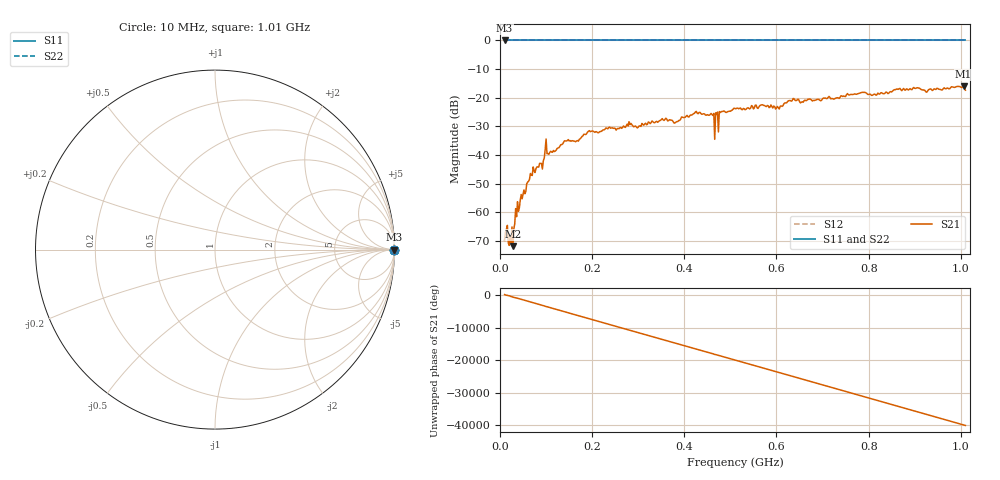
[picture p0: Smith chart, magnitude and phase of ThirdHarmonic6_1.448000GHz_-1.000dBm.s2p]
! 8/16/2025 4:46:50 PM
! C:\ANRITSUVNA\TEMP\TEMP.S2P
! CHANNEL.1
! TR.MEASUREMENT
! RAW.DATA
! RF.CORRECTION.OFF
! AVERAGING.OFF
! IF.BANDWIDTH: 5KHZ
! SWEEPTYPE:  FREQ.SWEEP(Linear)
! Reference Plane Port Info
! PORT:  PORT1  PORT2
! DISTANCE:  0  m  0  m
! TIME:  0  s  0  s
! PHASE.OFFSET:  0  deg.  0  deg.
! LOSS:  0  dB  0  dB
! REF.LOSS:  0  dB  0  dB
! REF.FREQ:  0  Hz  0  Hz
! Power Info
! POWER:  -20  dBm  -20  dBm
! EFF.POWER:  -20  dBm  -20  dBm
! SOURCE.ATTEN:  0  dB  0  dB
! TEST.ATTEN:  0  dB  0  dB
# GHZ S RI R 50.0
! FREQ.GHZ  S11RE  S11IM  S21RE  S21IM  S12RE  S12IM  S22RE  S22IM
!; PortSelection: Port_12
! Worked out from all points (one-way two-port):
!   501 points, 10 MHz to 1.01 GHz, reference 50 ohm
!   highest |S21| = -15.97 dB at 1.006 GHz (marker M1); lowest = -71.9 dB at 28 MHz (marker M2)
!   lowest |S11| = 0.0 dB at 10 MHz (marker M3)
!   |S11| at or under -10 dB: nowhere
!   |S22| runs from 0.0 to 0.0 dB; largest |S21 - S12| = 1.1
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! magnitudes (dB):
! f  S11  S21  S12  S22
! 10 MHz  0.0  -69.9  0.0  0.0
! 24 MHz  0.0  -70.7  0.0  0.0
! 28 MHz  0.0  -71.9  0.0  0.0
! 34 MHz  0.0  -58.7  0.0  0.0
! 48 MHz  0.0  -55.3  0.0  0.0
! 70 MHz  0.0  -47.2  0.0  0.0
! 92 MHz  0.0  -44.9  0.0  0.0
! 100 MHz  0.0  -34.4  0.0  0.0
! 178 MHz  0.0  -33.5  0.0  0.0
! 344 MHz  0.0  -28.3  0.0  0.0
! 382 MHz  0.0  -28.5  0.0  0.0
! 428 MHz  0.0  -25.4  0.0  0.0
! 460 MHz  0.0  -25.8  0.0  0.0
! 470 MHz  0.0  -25.9  0.0  0.0
! 480 MHz  0.0  -24.9  0.0  0.0
! 510 MHz  0.0  -23.8  0.0  0.0
! 602 MHz  0.0  -23.1  0.0  0.0
! 634 MHz  0.0  -21.0  0.0  0.0
! 678 MHz  0.0  -21.1  0.0  0.0
! 844 MHz  0.0  -18.4  0.0  0.0
! 1.006 GHz  0.0  -16.0  0.0  0.0
! 1.01 GHz  0.0  -17.4  0.0  0.0
